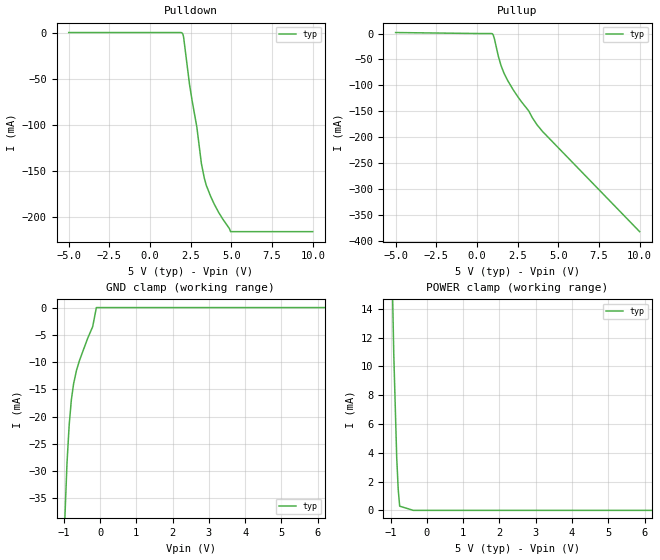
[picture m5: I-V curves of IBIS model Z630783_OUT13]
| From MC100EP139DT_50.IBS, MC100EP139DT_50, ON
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| (C) COPYRIGHT 1993-2000
| MENTOR GRAPHICS CORPORATION
| ICX STANDARD LIBRARY, ICX PROJECT MODELING,
| ICX CUSTOM MODELING, ICX VENDOR MODEL
| ALL RIGHTS RESERVED.
| THE FOLLOWING ARE TRADEMARKS OR SERVICE MARKS OF
| MENTOR GRAPHICS CORPORATION:ICX (R), ICX STANDARD
| LIBRARY(R), ICX PROJECT MODELING(R), ICX CUSTOM
| MODELING(R), qualityIBIS(TM), MODELVIEWER(TM),
| AND MODELEDITOR(TM)
| ALL COPIES OF SOFTWARE, INCLUDING BUT NOT LIMITED TO
| ANY MODIFICATIONS, ENHANCEMENTS OR DERIVATIVE WORKS,
| MUST CONTAIN ALL MENTOR GRAPHICS CORPORATION'S
| NOTICES AND LEGENDS, INCLUDING THOSE EMBEDDED IN
| SOFTWARE AND THOSE AFFIXED TO SOFTWARE MEDIUM
| AND CONTAINER, AS RECEIVED FROM MENTOR GRAPHICS
| CORPORATION.
| Model Application Version 1.89 2/18/99.
[Model] Z630783_OUT13
Model_type Output_ECL
Vref=3.000V
Rref=50.00ohms
Cref=0.000F
Vmeas=3.550V
C_comp 8.000pF NA NA
| variable typ   min   max
[Voltage Range] 5.000V NA NA
[POWER Clamp Reference] 5.000V NA NA
[Pullup Reference] 5.000V NA NA
[Pulldown Reference] 5.000V NA NA
[GND Clamp Reference] 0.000V NA NA
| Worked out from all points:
|   GND clamp passes 1 mA (typ) near -0.13 V on its own axis
|   POWER clamp passes 1 mA (typ) near -0.78 V on its own axis
[GND Clamp]
-5V       -1.078A    NA         NA
-1.014V   -46.3mA    NA         NA
-912mV    -28.6mA    NA         NA
-851mV    -21.5mA    NA         NA
-791mV    -16.9mA    NA         NA
-730mV    -14mA      NA         NA
-649mV    -11.5mA    NA         NA
-567mV    -9.7mA     NA         NA
-345mV    -5.7mA     NA         NA
-203mV    -3.5mA     NA         NA
-101.5mV  0A         NA         NA
10V       0A         NA         NA
[Pulldown]
-5V       0A         NA         NA
1.96V     -300uA     NA         NA
2.061V    -4.9mA     NA         NA
2.426V    -56.2mA    NA         NA
2.588V    -74mA      NA         NA
2.872V    -101.9mA   NA         NA
3.156V    -141.8mA   NA         NA
3.338V    -157.8mA   NA         NA
3.46V     -165.5mA   NA         NA
3.946V    -185.7mA   NA         NA
4.949V    -215.4mA   NA         NA
10V       -215.4mA   NA         NA
[Pullup]
-5V       1.9mA      NA         NA
951mV     -600uA     NA         NA
992mV     -2mA       NA         NA
1.073V    -10mA      NA         NA
1.316V    -43.9mA    NA         NA
1.478V    -61.6mA    NA         NA
1.66V     -76.4mA    NA         NA
2.228V    -108.6mA   NA         NA
3.181V    -149.3mA   NA         NA
3.687V    -175.9mA   NA         NA
4.032V    -189.1mA   NA         NA
10V       -382.5mA   NA         NA
[POWER Clamp]
-5V       642.6mA    NA         NA
-1.056V   28.68mA    NA         NA
-914mV    10.83mA    NA         NA
-833mV    3.662mA    NA         NA
-792mV    1.477mA    NA         NA
-752mV    292.1uA    NA         NA
-376mV    0A         NA         NA
10V       0A         NA         NA
[Ramp]
| variable typ min max
dV/dt_r 396.8m/107.6p NA NA
dV/dt_f 396.8m/139.8p NA NA
R_load = 50.00Ohms
